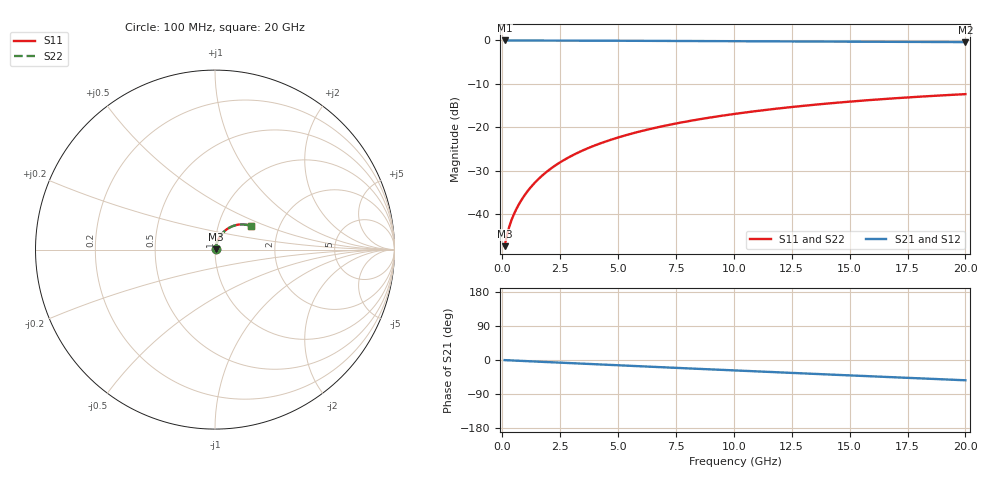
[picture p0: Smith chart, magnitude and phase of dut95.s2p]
! Touchstone file exported from HFSS 2026.1.0
!  File:  C:/ffzhzh/LocalFiles/Ansys_Project_Files/temp_train_TMRDL_95_1782881608_42304.aedt
!  Generated:  12:54:44 PM Jul  1, 2026
!  Design:  TMRDL
!  Project:  temp_train_TMRDL_95_1782881608_42304
! Variables:
!  h_bsmrdl = 2um
!  h_ox = 20um
!  h_rdl = 5um
!  h_sub = 80um
!  h_tmrdl = 3.62um
!  h_tsv = 80um
!  h_via = 3um
!  l_bsmrdl = 300um
!  l_sub = 1313.53um
!  l_tmrdl = 913.53um
!  m_sub = 200um
!  pitch = 36.97um
!  r_tsv = 6um
!  s_tmrdl = 10um
!  w_bsmrdl = 18um
!  w_sub = 500um
!  w_tmrdl = 25.65um
!  x_tsv_center1 = 926.355um
!  x_tsv_center2 = 1244.355um
!  x_tsv_center3 = 2183.535um
!  x_tsv_center4 = 2501.535um
!  x_tsv_center5 = 3440.715um
!  x_tsv_center6 = 3758.715um
# GHz S MA R 50.000000
! Terminal data exported
! Port[1] = TM_RDL1_1_T1
! Port[2] = TM_RDL1_1_T2
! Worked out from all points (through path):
!   200 points, 100 MHz to 20 GHz, reference 50 ohm
!   highest |S21| = -0.03 dB at 100 MHz (marker M1); lowest = -0.4 dB at 20 GHz (marker M2)
!   group delay of S21, straight-line fit = 7.42 ps
!   lowest |S11| = -47.3 dB at 100 MHz (marker M3), VSWR 1.01, Z = 50.4 + j0.211 ohm
!   |S11| at or under -10 dB: start of sweep to end of sweep
!   |S22| runs from -47.3 to -12.4 dB; largest |S21 - S12| = 8.5e-15
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0.1  0.004327 29.0  0.9962 -0.3  0.9962 -0.3  0.004327 29.0
! Gamma 0 0 0 0
! Port Impedance 50 0 50 0
0.2  0.005758 43.4  0.9959 -0.6  0.9959 -0.6  0.005758 43.4
0.3  0.007235 50.7  0.9955 -0.9  0.9955 -0.9  0.007235 50.7
0.4  0.008654 55.4  0.9952 -1.2  0.9952 -1.2  0.008654 55.3
0.5  0.01004 58.9  0.995 -1.5  0.995 -1.5  0.01004 58.9
0.6  0.01144 61.7  0.9948 -1.7  0.9948 -1.7  0.01144 61.7
0.8  0.01427 65.9  0.9946 -2.3  0.9946 -2.3  0.01427 65.8
1  0.01717 68.6  0.9944 -2.8  0.9944 -2.8  0.01717 68.6
1.2  0.02012 70.5  0.9942 -3.4  0.9942 -3.4  0.02012 70.5
1.7  0.02764 73.0  0.9938 -4.8  0.9938 -4.8  0.02764 73.0
2.2  0.03521 73.7  0.9932 -6.2  0.9932 -6.2  0.03522 73.7
2.8  0.04428 73.6  0.9924 -7.9  0.9924 -7.9  0.04429 73.5
3.5  0.05475 72.7  0.9913 -9.8  0.9913 -9.8  0.05476 72.6
4.2  0.06505 71.4  0.9901 -11.8  0.9901 -11.8  0.06506 71.3
5  0.07658 69.7  0.9885 -14.0  0.9885 -14.0  0.0766 69.6
5.9  0.08924 67.6  0.9866 -16.4  0.9866 -16.4  0.08925 67.5
6.8  0.1015 65.4  0.9846 -18.9  0.9846 -18.9  0.1016 65.3
8.3  0.1213 61.8  0.9811 -22.9  0.9811 -22.9  0.1213 61.6
10.1  0.1437 57.3  0.9768 -27.7  0.9768 -27.7  0.1437 57.2
13.4  0.1812 49.2  0.9687 -36.4  0.9687 -36.4  0.1812 49.0
16.7  0.2137 41.1  0.9609 -45.0  0.9609 -45.0  0.2138 40.8
20  0.241 33.0  0.9536 -53.5  0.9536 -53.5  0.2411 32.7
